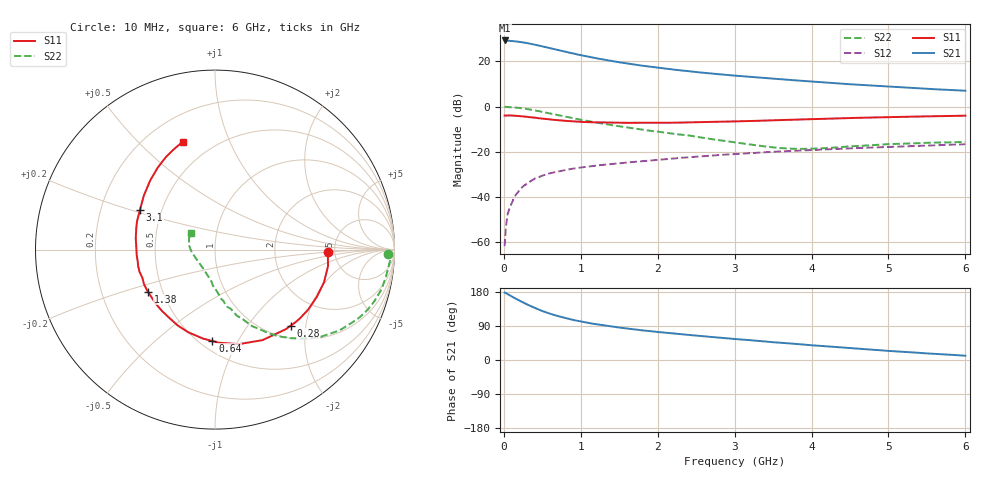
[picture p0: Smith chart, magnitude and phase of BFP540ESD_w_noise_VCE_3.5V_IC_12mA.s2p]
! Infineon Technologies  Discrete & RF Semiconductors
! BFP540ESD
! VCE =  3.5 V,  IC =  12 mA
! Common Emitter S-Parameters:  Nov 2015
# GHz  S  MA  R  50
!  f  S11  S21  S12  S22
! GHz  MAG  ANG  MAG  ANG  MAG  ANG  MAG  ANG
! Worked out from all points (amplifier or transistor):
!   210 points, 10 MHz to 6 GHz, reference 50 ohm
!   highest |S21| = 29.3 dB at 10 MHz (marker M1)
!   |S21| within 3 dB of that: start of sweep to 550 MHz
!   unconditionally stable (mu >= 1): start of sweep to 12.31 MHz; 2.563 GHz to end of sweep
!   at 185 MHz: K = 0.17, MSG = 33.4 dB, |S12| = -37.9 dB
!   at 1.52 GHz: K = 0.77, MSG = 22.3 dB, |S12| = -25.1 dB
!   at 6 GHz: K = 1.14, MAG = 9.6 dB, |S12| = -16.7 dB
!   lowest NFmin = 0.93 dB at 900 MHz
!   S11 on the Smith chart (normalised r, x): 10 MHz: 4.42, -0.19; 280 MHz: 1.25, -1.65; 640 MHz: 0.57, -0.79; 1.38 GHz: 0.41, -0.24; 3.1 GHz: 0.38, +0.21; 6 GHz: 0.35, +0.69
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0.01  0.6317 -1.2  29.28 178.0  0.0008 58.3  0.9629 -1.4
0.02  0.63 -3.4  28.79 177.4  0.0015 59.5  0.9882 -1.7
0.05  0.6364 -8.3  28.83 173.7  0.0041 77.7  0.9749 -4.4
0.15  0.6255 -25.0  28.02 162.5  0.0107 76.8  0.954 -13.4
0.2  0.6171 -32.9  27.32 157.1  0.0136 75.0  0.9336 -17.9
0.28  0.598 -45.2  25.97 148.8  0.0184 72.2  0.8945 -24.3
0.4  0.5697 -62.3  23.68 137.5  0.0251 66.4  0.8262 -33.1
0.44  0.5555 -67.5  22.86 134.3  0.0268 64.7  0.7999 -35.5
0.5  0.5433 -75.8  21.77 129.2  0.0293 62.5  0.7634 -39.5
0.64  0.5097 -91.6  19.07 119.8  0.0343 58.6  0.6803 -46.6
0.8  0.484 -108.0  16.46 110.5  0.0392 54.7  0.5956 -54.1
0.9  0.4708 -116.3  15.05 105.7  0.042 54.1  0.5512 -57.5
1.02  0.4561 -125.4  13.6 100.9  0.0448 52.4  0.5025 -61.3
1.2  0.4469 -137.9  11.79 94.3  0.0492 50.4  0.4429 -66.3
1.38  0.4414 -147.9  10.42 88.9  0.0528 49.6  0.3926 -71.1
1.7  0.4384 -163.7  8.543 80.5  0.0595 47.7  0.3251 -78.0
2.02  0.4373 -175.8  7.219 73.6  0.0666 46.5  0.2754 -82.9
2.6  0.4535 165.6  5.603 62.5  0.0792 43.6  0.2003 -93.5
3.1  0.4725 152.4  4.71 53.9  0.0904 40.6  0.1524 -104.6
4.1  0.5329 131.4  3.495 37.5  0.1101 33.6  0.1177 -157.3
5.1  0.5889 116.4  2.716 22.8  0.1292 26.0  0.1483 167.7
6  0.6279 106.5  2.247 11.3  0.1461 20.0  0.1648 145.5
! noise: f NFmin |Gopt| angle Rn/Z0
0.9  0.93  0.16  -133  0.11
1.8  1.11  0.2  -149  0.1
2.4  1.12  0.2  -146  0.1
3  1.24  0.25  -142  0.11
4  1.35  0.38  -110  0.17
5  1.51  0.47  -91  0.3
6  1.78  0.53  -92  0.49
